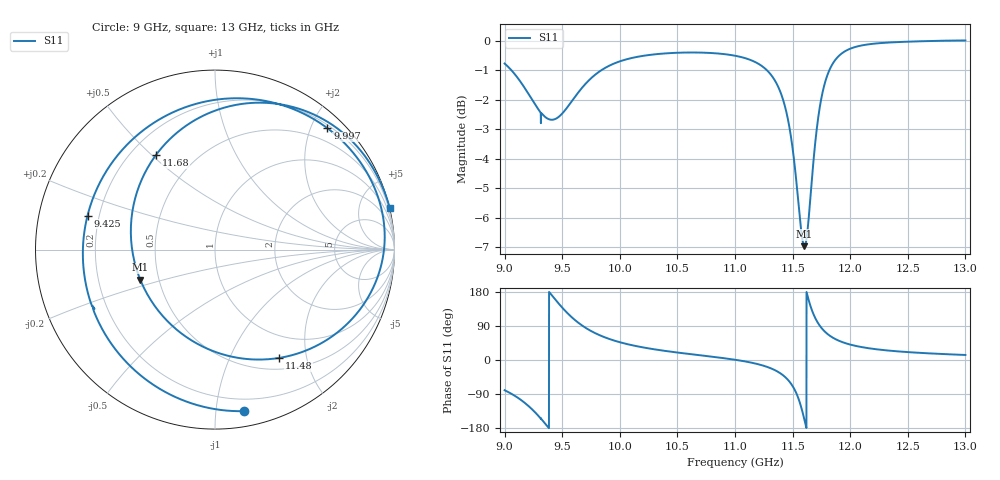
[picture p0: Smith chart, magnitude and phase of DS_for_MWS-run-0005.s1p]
! TOUCHSTONE file generated by CST DESIGN STUDIO
! Date and time: Tue Feb  4 14:10:38 2025
! Project name: C:\Work\MatlabApps\UnitCellOptimizationMatlab\CST\unitcell.cst
! Tree item: Tasks\Sweep1\SPara1\S-Parameters
! Header version: 2024
! Port assignment regex: !\s*Touchstone port\s*([0-9]+)\s*=\s*(CST MWS port|CST DES external port|CST DES block port)\s*(.+)\s* \(\"(.*)\"\)(\s*mode\s*([0-9]+))?.*
! Touchstone port assignment:
! Touchstone port 1 = CST DES external port 1 ("")
# GHz S MA R 50
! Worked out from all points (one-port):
!   4001 points, 9 GHz to 13 GHz, reference 50 ohm
!   lowest |S11| = -7.0 dB at 11.6 GHz (marker M1), VSWR 2.63, Z = 19.6 - j8.27 ohm
!   |S11| at or under -10 dB: nowhere
!   S11 on the Smith chart (normalised r, x): 9 GHz: 0.11, -1.19; 9.425 GHz: 0.16, +0.13; 9.997 GHz: 0.25, +2.27; 11.48 GHz: 0.65, -1.55; 11.68 GHz: 0.30, +0.52; 13 GHz: -0.02, +8.60
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9  0.9145 -79.8
9.115  0.864 -99.7
9.212  0.8096 -122.7
9.328  0.7504 -159.1
9.425  0.7351 165.1
9.5  0.7526 138.3
9.588  0.792 111.4
9.685  0.8376 88.5
9.832  0.8889 64.5
9.997  0.9218 47.2
10  0.9223 46.9
10.213  0.943 32.6
10.5  0.9537 19.7
11  0.9428 0.7
11.316  0.8734 -22.5
11.407  0.8055 -37.9
11.479  0.7009 -59.5
11.5  0.6572 -68.8
11.553  0.5253 -103.5
11.603  0.4488 -158.0
11.64  0.5011 157.6
11.68  0.6219 121.8
11.724  0.7447 95.9
11.776  0.8418 76.1
11.872  0.9283 55.1
12  0.9689 40.7
12.5  0.9958 20.8
13  1.001 13.3
